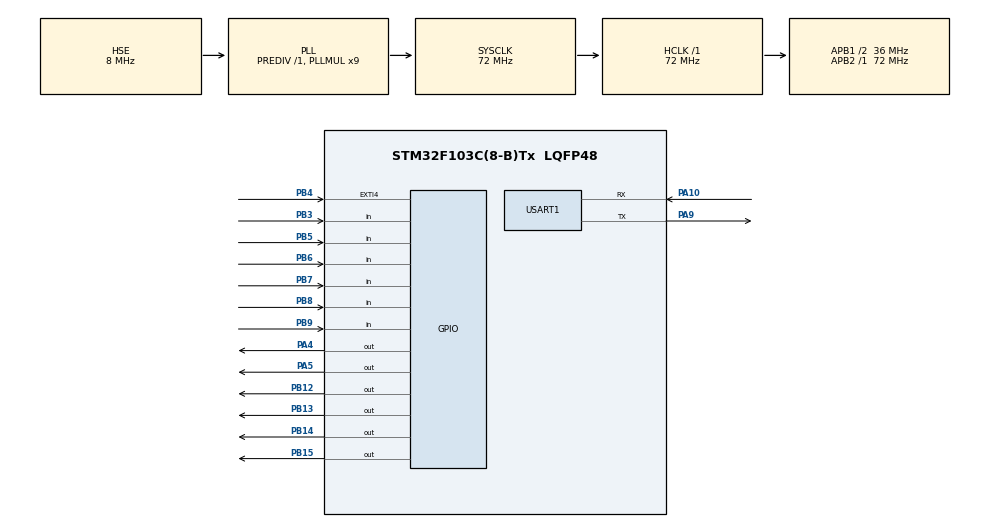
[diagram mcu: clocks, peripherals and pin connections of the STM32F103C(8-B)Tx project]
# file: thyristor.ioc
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Mcu.Family=STM32F1
Mcu.Name=STM32F103C(8-B)Tx
Mcu.Package=LQFP48
NVIC.EXTI4_IRQn=true\:0\:0\:false\:false\:true\:true
NVIC.PriorityGroup=NVIC_PRIORITYGROUP_4
PA10.Mode=Asynchronous
PA10.Signal=USART1_RX
PA13.Mode=Serial_Wire
PA13.Signal=SYS_JTMS-SWDIO
PA14.Mode=Serial_Wire
PA14.Signal=SYS_JTCK-SWCLK
PA4.Signal=GPIO_Output
PA5.Signal=GPIO_Output
PA9.Mode=Asynchronous
PA9.Signal=USART1_TX
PB12.Signal=GPIO_Output
PB13.Signal=GPIO_Output
PB14.Signal=GPIO_Output
PB15.Signal=GPIO_Output
PB3.GPIO_Mode=GPIO_MODE_INPUT
PB3.GPIO_PuPd=GPIO_PULLUP
PB3.Signal=GPIO_Input
PB4.GPIO_ModeDefaultEXTI=GPIO_MODE_IT_FALLING
PB4.GPIO_PuPd=GPIO_PULLUP
PB4.Signal=GPXTI4
PB5.GPIO_PuPd=GPIO_PULLUP
PB5.Signal=GPIO_Input
PB6.GPIO_PuPd=GPIO_PULLUP
PB6.Signal=GPIO_Input
PB7.GPIO_PuPd=GPIO_PULLUP
PB7.Signal=GPIO_Input
PB8.GPIO_PuPd=GPIO_PULLUP
PB8.Signal=GPIO_Input
PB9.GPIO_PuPd=GPIO_PULLUP
PB9.Signal=GPIO_Input
PD0-OSC_IN.Mode=HSE-External-Oscillator
PD0-OSC_IN.Signal=RCC_OSC_IN
PD1-OSC_OUT.Mode=HSE-External-Oscillator
PD1-OSC_OUT.Signal=RCC_OSC_OUT
ProjectManager.HeapSize=0x200
ProjectManager.StackSize=0x400
ProjectManager.TargetToolchain=EWARM V8
RCC.AHBFreq_Value=72000000
RCC.APB1CLKDivider=RCC_HCLK_DIV2
RCC.APB1Freq_Value=36000000
RCC.APB1TimFreq_Value=72000000
RCC.APB2Freq_Value=72000000
RCC.APB2TimFreq_Value=72000000
RCC.HCLKFreq_Value=72000000
RCC.PLLMUL=RCC_PLL_MUL9
RCC.PLLSourceVirtual=RCC_PLLSOURCE_HSE
RCC.SYSCLKFreq_VALUE=72000000
RCC.SYSCLKSource=RCC_SYSCLKSOURCE_PLLCLK
RCC.USBFreq_Value=72000000
TIM1.Period=65535
TIM1.Prescaler=72-1
USART1.VirtualMode=VM_ASYNC
VP_TIM1_VS_ClockSourceINT.Mode=Internal
board=custom

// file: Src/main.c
/**
  ******************************************************************************
  * @file           : main.c
  * @brief          : Main program body
  ******************************************************************************
  ** This notice applies to any and all portions of this file
  * that are not between comment pairs USER CODE BEGIN and
  * USER CODE END. Other portions of this file, whether
  * inserted by the user or by software development tools
  * are owned by their respective copyright owners.
  *
  * COPYRIGHT(c) 2018 STMicroelectronics
  *
  * Redistribution and use in source and binary forms, with or without modification,
  * are permitted provided that the following conditions are met:
  *   1. Redistributions of source code must retain the above copyright notice,
  *      this list of conditions and the following disclaimer.
  *   2. Redistributions in binary form must reproduce the above copyright notice,
  *      this list of conditions and the following disclaimer in the documentation
  *      and/or other materials provided with the distribution.
  *   3. Neither the name of STMicroelectronics nor the names of its contributors
  *      may be used to endorse or promote products derived from this software
  *      without specific prior written permission.
  *
  * THIS SOFTWARE IS PROVIDED BY THE COPYRIGHT HOLDERS AND CONTRIBUTORS "AS IS"
  * AND ANY EXPRESS OR IMPLIED WARRANTIES, INCLUDING, BUT NOT LIMITED TO, THE
  * IMPLIED WARRANTIES OF MERCHANTABILITY AND FITNESS FOR A PARTICULAR PURPOSE ARE
  * DISCLAIMED. IN NO EVENT SHALL THE COPYRIGHT HOLDER OR CONTRIBUTORS BE LIABLE
  * FOR ANY DIRECT, INDIRECT, INCIDENTAL, SPECIAL, EXEMPLARY, OR CONSEQUENTIAL
  * DAMAGES (INCLUDING, BUT NOT LIMITED TO, PROCUREMENT OF SUBSTITUTE GOODS OR
  * SERVICES; LOSS OF USE, DATA, OR PROFITS; OR BUSINESS INTERRUPTION) HOWEVER
  * CAUSED AND ON ANY THEORY OF LIABILITY, WHETHER IN CONTRACT, STRICT LIABILITY,
  * OR TORT (INCLUDING NEGLIGENCE OR OTHERWISE) ARISING IN ANY WAY OUT OF THE USE
  * OF THIS SOFTWARE, EVEN IF ADVISED OF THE POSSIBILITY OF SUCH DAMAGE.
  *
  ******************************************************************************
  */
#include "main.h"
#include "stm32f1xx_hal.h"

TIM_HandleTypeDef htim1;

UART_HandleTypeDef huart1;

/* USER CODE BEGIN PV */
/* Private variables ---------------------------------------------------------*/

/* USER CODE END PV */

void SystemClock_Config(void);
static void MX_GPIO_Init(void);
static void MX_USART1_UART_Init(void);
static void MX_TIM1_Init(void);

/* USER CODE BEGIN PFP */
/* Private function prototypes -----------------------------------------------*/
int thy_1_2_on=0;
int thy_3_1_on=0;
void on_LED1();
void off_LED1();
void on_LED2();
void off_LED2();
void toggle_LED2();
void on_LED3();
void off_LED3();
void on_LED4();
void off_LED4();
void on_thy_1_2();
void on_thy_3_1();
int cnt_gpio_int=0;
int t_us=10000; // set time in us
int cnt_timer_int=0;
/* USER CODE END PFP */

int main(void)
{

  /* MCU Configuration----------------------------------------------------------*/

  /* Reset of all peripherals, Initializes the Flash interface and the Systick. */
  HAL_Init();

  /* Configure the system clock */
  SystemClock_Config();

  /* Initialize all configured peripherals */
  MX_GPIO_Init();
  MX_USART1_UART_Init();
  MX_TIM1_Init();
  /* USER CODE BEGIN 2 */
  on_LED2();

  /* USER CODE END 2 */

  /* Infinite loop */
  /* USER CODE BEGIN WHILE */
  while (1)
  {
    if(htim1.Instance->CNT >= t_us){
      HAL_TIM_Base_Stop(&htim1);
      on_thy_3_1();

    }

  /* USER CODE END WHILE */

  }

}

void SystemClock_Config(void)
{

  RCC_OscInitTypeDef RCC_OscInitStruct;
  RCC_ClkInitTypeDef RCC_ClkInitStruct;

    /**Initializes the CPU, AHB and APB busses clocks
    */
  RCC_OscInitStruct.OscillatorType = RCC_OSCILLATORTYPE_HSE;
  RCC_OscInitStruct.HSEState = RCC_HSE_ON;
  RCC_OscInitStruct.HSEPredivValue = RCC_HSE_PREDIV_DIV1;
  RCC_OscInitStruct.HSIState = RCC_HSI_ON;
  RCC_OscInitStruct.PLL.PLLState = RCC_PLL_ON;
  RCC_OscInitStruct.PLL.PLLSource = RCC_PLLSOURCE_HSE;
  RCC_OscInitStruct.PLL.PLLMUL = RCC_PLL_MUL9;
  if (HAL_RCC_OscConfig(&RCC_OscInitStruct) != HAL_OK)
  {
    _Error_Handler(__FILE__, __LINE__);
  }

    /**Initializes the CPU, AHB and APB busses clocks
    */
  RCC_ClkInitStruct.ClockType = RCC_CLOCKTYPE_HCLK|RCC_CLOCKTYPE_SYSCLK
                              |RCC_CLOCKTYPE_PCLK1|RCC_CLOCKTYPE_PCLK2;
  RCC_ClkInitStruct.SYSCLKSource = RCC_SYSCLKSOURCE_PLLCLK;
  RCC_ClkInitStruct.AHBCLKDivider = RCC_SYSCLK_DIV1;
  RCC_ClkInitStruct.APB1CLKDivider = RCC_HCLK_DIV2;
  RCC_ClkInitStruct.APB2CLKDivider = RCC_HCLK_DIV1;

  if (HAL_RCC_ClockConfig(&RCC_ClkInitStruct, FLASH_LATENCY_2) != HAL_OK)
  {
    _Error_Handler(__FILE__, __LINE__);
  }

    /**Configure the Systick interrupt time
    */
  HAL_SYSTICK_Config(HAL_RCC_GetHCLKFreq()/1000);

    /**Configure the Systick
    */
  HAL_SYSTICK_CLKSourceConfig(SYSTICK_CLKSOURCE_HCLK);

  /* SysTick_IRQn interrupt configuration */
  HAL_NVIC_SetPriority(SysTick_IRQn, 0, 0);
}

/* TIM1 init function */
static void MX_TIM1_Init(void)
{

  TIM_ClockConfigTypeDef sClockSourceConfig;
  TIM_MasterConfigTypeDef sMasterConfig;

  htim1.Instance = TIM1;
  htim1.Init.Prescaler = 72-1;
  htim1.Init.CounterMode = TIM_COUNTERMODE_UP;
  htim1.Init.Period = 65535;
  htim1.Init.ClockDivision = TIM_CLOCKDIVISION_DIV1;
  htim1.Init.RepetitionCounter = 0;
  htim1.Init.AutoReloadPreload = TIM_AUTORELOAD_PRELOAD_DISABLE;
  if (HAL_TIM_Base_Init(&htim1) != HAL_OK)
  {
    _Error_Handler(__FILE__, __LINE__);
  }

  sClockSourceConfig.ClockSource = TIM_CLOCKSOURCE_INTERNAL;
  if (HAL_TIM_ConfigClockSource(&htim1, &sClockSourceConfig) != HAL_OK)
  {
    _Error_Handler(__FILE__, __LINE__);
  }

  sMasterConfig.MasterOutputTrigger = TIM_TRGO_RESET;
  sMasterConfig.MasterSlaveMode = TIM_MASTERSLAVEMODE_DISABLE;
  if (HAL_TIMEx_MasterConfigSynchronization(&htim1, &sMasterConfig) != HAL_OK)
  {
    _Error_Handler(__FILE__, __LINE__);
  }

}

/* USART1 init function */
static void MX_USART1_UART_Init(void)
{

  huart1.Instance = USART1;
  huart1.Init.BaudRate = 115200;
  huart1.Init.WordLength = UART_WORDLENGTH_8B;
  huart1.Init.StopBits = UART_STOPBITS_1;
  huart1.Init.Parity = UART_PARITY_NONE;
  huart1.Init.Mode = UART_MODE_TX_RX;
  huart1.Init.HwFlowCtl = UART_HWCONTROL_NONE;
  huart1.Init.OverSampling = UART_OVERSAMPLING_16;
  if (HAL_UART_Init(&huart1) != HAL_OK)
  {
    _Error_Handler(__FILE__, __LINE__);
  }

}

/** Configure pins as
        * Analog
        * Input
        * Output
        * EVENT_OUT
        * EXTI
*/
static void MX_GPIO_Init(void)
{

  GPIO_InitTypeDef GPIO_InitStruct;

  /* GPIO Ports Clock Enable */
  __HAL_RCC_GPIOD_CLK_ENABLE();
  __HAL_RCC_GPIOA_CLK_ENABLE();
  __HAL_RCC_GPIOB_CLK_ENABLE();

  /*Configure GPIO pin Output Level */
  HAL_GPIO_WritePin(GPIOA, GPIO_PIN_4|GPIO_PIN_5, GPIO_PIN_RESET);

  /*Configure GPIO pin Output Level */
  HAL_GPIO_WritePin(GPIOB, GPIO_PIN_12|GPIO_PIN_13|GPIO_PIN_14|GPIO_PIN_15, GPIO_PIN_RESET);

  /*Configure GPIO pins : PA4 PA5 */
  GPIO_InitStruct.Pin = GPIO_PIN_4|GPIO_PIN_5;
  GPIO_InitStruct.Mode = GPIO_MODE_OUTPUT_PP;
  GPIO_InitStruct.Pull = GPIO_NOPULL;
  GPIO_InitStruct.Speed = GPIO_SPEED_FREQ_LOW;
  HAL_GPIO_Init(GPIOA, &GPIO_InitStruct);

  /*Configure GPIO pins : PB12 PB13 PB14 PB15 */
  GPIO_InitStruct.Pin = GPIO_PIN_12|GPIO_PIN_13|GPIO_PIN_14|GPIO_PIN_15;
  GPIO_InitStruct.Mode = GPIO_MODE_OUTPUT_PP;
  GPIO_InitStruct.Pull = GPIO_NOPULL;
  GPIO_InitStruct.Speed = GPIO_SPEED_FREQ_LOW;
  HAL_GPIO_Init(GPIOB, &GPIO_InitStruct);

  /*Configure GPIO pins : PB3 PB5 PB6 PB7
                           PB8 PB9 */
  GPIO_InitStruct.Pin = GPIO_PIN_3|GPIO_PIN_5|GPIO_PIN_6|GPIO_PIN_7
                          |GPIO_PIN_8|GPIO_PIN_9;
  GPIO_InitStruct.Mode = GPIO_MODE_INPUT;
  GPIO_InitStruct.Pull = GPIO_PULLUP;
  HAL_GPIO_Init(GPIOB, &GPIO_InitStruct);

  /*Configure GPIO pin : PB4 */
  GPIO_InitStruct.Pin = GPIO_PIN_4;
  GPIO_InitStruct.Mode = GPIO_MODE_IT_FALLING;
  GPIO_InitStruct.Pull = GPIO_PULLUP;
  HAL_GPIO_Init(GPIOB, &GPIO_InitStruct);

  /* EXTI interrupt init*/
  HAL_NVIC_SetPriority(EXTI4_IRQn, 0, 0);
  HAL_NVIC_EnableIRQ(EXTI4_IRQn);

}

/* USER CODE BEGIN 4 */
void on_LED1(){
  HAL_GPIO_WritePin(GPIOB,GPIO_PIN_15,GPIO_PIN_SET);
}
void off_LED1(){
  HAL_GPIO_WritePin(GPIOB,GPIO_PIN_15,GPIO_PIN_RESET);
}
void on_LED2(){
  HAL_GPIO_WritePin(GPIOB,GPIO_PIN_14,GPIO_PIN_SET);
}
void off_LED2(){
  HAL_GPIO_WritePin(GPIOB,GPIO_PIN_14,GPIO_PIN_RESET);
}

void toggle_LED2(){
  HAL_GPIO_TogglePin(GPIOB,GPIO_PIN_14);
}
void on_LED3(){
  HAL_GPIO_WritePin(GPIOB,GPIO_PIN_12,GPIO_PIN_SET);
}
void off_LED3(){
  HAL_GPIO_WritePin(GPIOB,GPIO_PIN_12,GPIO_PIN_RESET);
}

void on_LED4(){
  HAL_GPIO_WritePin(GPIOB,GPIO_PIN_13,GPIO_PIN_SET);
}
void off_LED4(){
  HAL_GPIO_WritePin(GPIOB,GPIO_PIN_13,GPIO_PIN_RESET);
}
void on_thy_1_2(){
  thy_1_2_on=1;
  on_LED3();

  HAL_GPIO_WritePin(GPIOA,GPIO_PIN_5,GPIO_PIN_SET);

}
void on_thy_3_1(){
  thy_3_1_on=1;
  on_LED4();
  HAL_GPIO_WritePin(GPIOA,GPIO_PIN_4,GPIO_PIN_SET);

}

void HAL_GPIO_EXTI_Callback(uint16_t GPIO_Pin)
{
  if(cnt_gpio_int==0){

    on_LED1();
    on_thy_1_2();
    HAL_TIM_Base_Start(&htim1);
    cnt_gpio_int++;
  }
}
/* USER CODE END 4 */

void _Error_Handler(char *file, int line)
{
  while(1)
  {
  }
}

/************************ (C) COPYRIGHT STMicroelectronics *****END OF FILE****/
